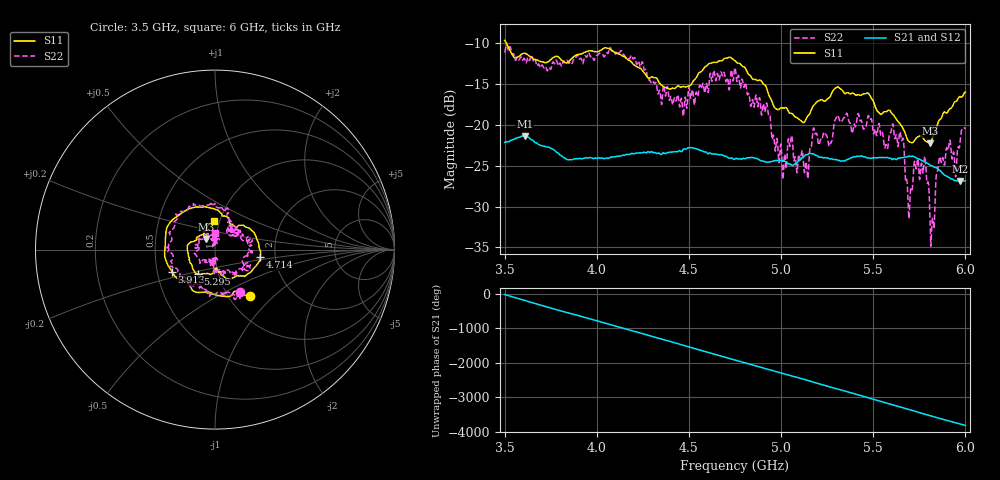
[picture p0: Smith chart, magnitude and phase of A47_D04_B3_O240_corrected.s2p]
! Created with skrf 1.9.0 (http://scikit-rf.org).
# Hz S RI R 50.0
!freq ReS11 ImS11 ReS21 ImS21 ReS12 ImS12 ReS22 ImS22
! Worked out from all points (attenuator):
!   1601 points, 3.5 GHz to 6 GHz, reference 50 ohm
!   highest |S21| = -21.38 dB at 3.609 GHz (marker M1); lowest = -26.9 dB at 5.972 GHz (marker M2)
!   lowest |S11| = -22.3 dB at 5.806 GHz (marker M3), VSWR 1.17, Z = 45.1 + j5.39 ohm
!   |S11| at or under -10 dB: 3.508 GHz to end of sweep
!   |S22| runs from -34.8 to -10.3 dB; largest |S21 - S12| = 0.00096
!   S11 on the Smith chart (normalised r, x): 3.5 GHz: 1.25, -0.73; 3.913 GHz: 0.60, -0.16; 4.714 GHz: 1.67, -0.15; 5.295 GHz: 0.80, -0.22; 6 GHz: 0.94, +0.30
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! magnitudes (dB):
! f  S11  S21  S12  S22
! 3.5 GHz  -9.7  -22.2  -22.1  -11.2
! 3.609 GHz  -11.3  -21.4  -21.4  -12.0
! 3.913 GHz  -11.4  -24.1  -24.1  -11.9
! 3.917 GHz  -11.4  -24.2  -24.1  -12.0
! 4.334 GHz  -14.7  -23.5  -23.4  -16.2
! 4.714 GHz  -11.8  -24.1  -24.1  -14.9
! 4.75 GHz  -12.2  -24.2  -24.1  -13.0
! 4.928 GHz  -16.0  -24.5  -24.5  -18.3
! 5.017 GHz  -18.0  -24.4  -24.4  -24.0
! 5.05 GHz  -18.6  -24.8  -24.8  -22.5
! 5.138 GHz  -19.2  -23.6  -23.6  -24.8
! 5.167 GHz  -18.0  -23.6  -23.5  -22.2
! 5.295 GHz  -15.5  -24.2  -24.2  -19.4
! 5.584 GHz  -18.2  -24.1  -24.0  -21.7
! 5.655 GHz  -20.2  -24.0  -24.0  -22.0
! 5.698 GHz  -22.1  -23.8  -23.8  -29.6
! 5.773 GHz  -21.7  -24.5  -24.4  -25.2
! 5.806 GHz  -22.3  -24.9  -24.8  -30.2
! 5.822 GHz  -21.6  -25.0  -25.0  -31.4
! 5.864 GHz  -19.3  -25.7  -25.6  -24.1
! 5.972 GHz  -16.6  -26.9  -26.8  -22.0
! 6 GHz  -16.0  -26.9  -26.8  -20.5
